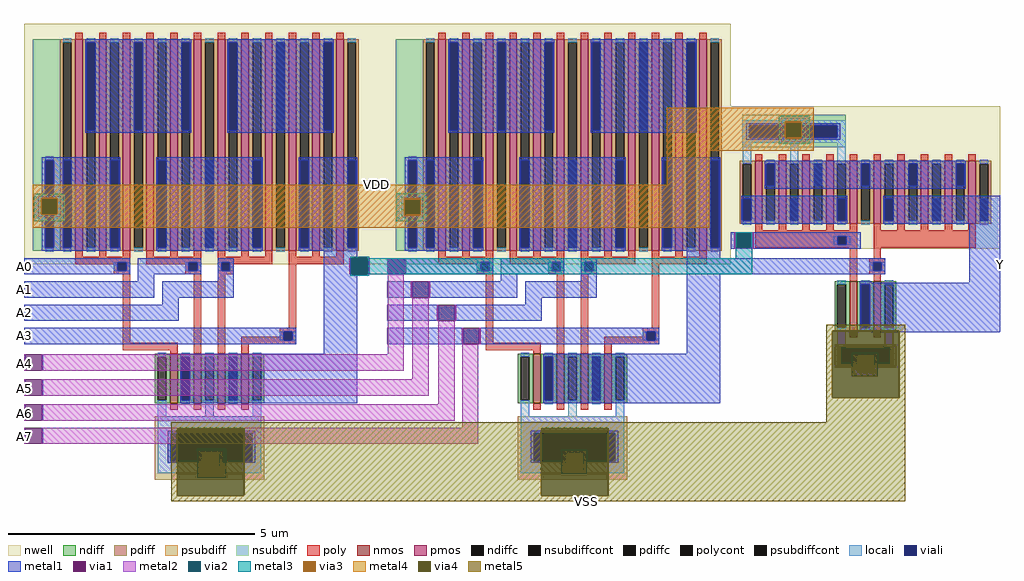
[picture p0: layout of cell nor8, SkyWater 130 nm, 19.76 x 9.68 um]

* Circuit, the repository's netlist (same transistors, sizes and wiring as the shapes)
* NGSPICE file created from nor8.ext - technology: sky130B

.subckt sky130_fd_pr__pfet_01v8_64A2S3 a_n33_n428# a_447_n428# a_n605_n428# a_321_n484#
+ a_n543_n484# a_543_n428# a_159_n428# a_33_n484# a_n255_n484# a_255_n428# w_n641_n484#
+ a_351_n428# a_n417_n428# a_n513_n428# a_n129_n428# a_63_n428# a_n225_n428# a_n321_n428#
X0 a_447_n428# a_321_n484# a_351_n428# w_n641_n484# sky130_fd_pr__pfet_01v8 ad=0.7062 pd=4.61 as=0.7062 ps=4.61 w=4.28 l=0.15
X1 a_n513_n428# a_n543_n484# a_n605_n428# w_n641_n484# sky130_fd_pr__pfet_01v8 ad=0.7062 pd=4.61 as=1.3268 ps=9.18 w=4.28 l=0.15
X2 a_63_n428# a_33_n484# a_n33_n428# w_n641_n484# sky130_fd_pr__pfet_01v8 ad=0.7062 pd=4.61 as=0.7062 ps=4.61 w=4.28 l=0.15
X3 a_n129_n428# a_n255_n484# a_n225_n428# w_n641_n484# sky130_fd_pr__pfet_01v8 ad=0.7062 pd=4.61 as=0.7062 ps=4.61 w=4.28 l=0.15
X4 a_n417_n428# a_n543_n484# a_n513_n428# w_n641_n484# sky130_fd_pr__pfet_01v8 ad=0.7062 pd=4.61 as=0.7062 ps=4.61 w=4.28 l=0.15
X5 a_n33_n428# a_n255_n484# a_n129_n428# w_n641_n484# sky130_fd_pr__pfet_01v8 ad=0.7062 pd=4.61 as=0.7062 ps=4.61 w=4.28 l=0.15
X6 a_351_n428# a_321_n484# a_255_n428# w_n641_n484# sky130_fd_pr__pfet_01v8 ad=0.7062 pd=4.61 as=0.7062 ps=4.61 w=4.28 l=0.15
X7 a_255_n428# a_33_n484# a_159_n428# w_n641_n484# sky130_fd_pr__pfet_01v8 ad=0.7062 pd=4.61 as=0.7062 ps=4.61 w=4.28 l=0.15
X8 a_n321_n428# a_n543_n484# a_n417_n428# w_n641_n484# sky130_fd_pr__pfet_01v8 ad=0.7062 pd=4.61 as=0.7062 ps=4.61 w=4.28 l=0.15
X9 a_543_n428# a_321_n484# a_447_n428# w_n641_n484# sky130_fd_pr__pfet_01v8 ad=1.3268 pd=9.18 as=0.7062 ps=4.61 w=4.28 l=0.15
X10 a_159_n428# a_33_n484# a_63_n428# w_n641_n484# sky130_fd_pr__pfet_01v8 ad=0.7062 pd=4.61 as=0.7062 ps=4.61 w=4.28 l=0.15
X11 a_n225_n428# a_n255_n484# a_n321_n428# w_n641_n484# sky130_fd_pr__pfet_01v8 ad=0.7062 pd=4.61 as=0.7062 ps=4.61 w=4.28 l=0.15
.ends

.subckt sky130_fd_pr__nfet_01v8_S9NJ5Q a_159_n100# a_n159_n126# a_33_n126# a_n129_n100#
+ a_n221_n100# a_63_n100# a_n63_n126# a_n33_n100# a_129_n126# VSUBS
X0 a_n129_n100# a_n159_n126# a_n221_n100# VSUBS sky130_fd_pr__nfet_01v8 ad=0.165 pd=1.33 as=0.31 ps=2.62 w=1 l=0.15
X1 a_63_n100# a_33_n126# a_n33_n100# VSUBS sky130_fd_pr__nfet_01v8 ad=0.165 pd=1.33 as=0.165 ps=1.33 w=1 l=0.15
X2 a_n33_n100# a_n63_n126# a_n129_n100# VSUBS sky130_fd_pr__nfet_01v8 ad=0.165 pd=1.33 as=0.165 ps=1.33 w=1 l=0.15
X3 a_159_n100# a_129_n126# a_63_n100# VSUBS sky130_fd_pr__nfet_01v8 ad=0.31 pd=2.62 as=0.165 ps=1.33 w=1 l=0.15
.ends

.subckt nor4 A B C D VSS Y VDD
Xsky130_fd_pr__pfet_01v8_64A2S3_0 m1_n20_1047# m1_268_1523# VDD D A Y m1_n20_1047#
+ C B m1_268_1523# VDD Y VDD m1_n308_1523# m1_n308_1523# m1_268_1523# m1_n20_1047#
+ m1_n308_1523# sky130_fd_pr__pfet_01v8_64A2S3
Xsky130_fd_pr__nfet_01v8_S9NJ5Q_0 VSS A C Y VSS Y B VSS D VSS sky130_fd_pr__nfet_01v8_S9NJ5Q
.ends

.subckt sky130_fd_pr__pfet_01v8_UFBY79 a_n33_n128# a_n509_n128# a_447_n128# a_159_n128#
+ a_255_n128# a_351_n128# a_n417_n128# a_n447_n225# a_n129_n128# a_63_n128# a_n225_n128#
+ a_33_n225# w_n545_n228# a_n321_n128#
X0 a_63_n128# a_33_n225# a_n33_n128# w_n545_n228# sky130_fd_pr__pfet_01v8 ad=0.2112 pd=1.61 as=0.2112 ps=1.61 w=1.28 l=0.15
X1 a_n129_n128# a_n447_n225# a_n225_n128# w_n545_n228# sky130_fd_pr__pfet_01v8 ad=0.2112 pd=1.61 as=0.2112 ps=1.61 w=1.28 l=0.15
X2 a_n417_n128# a_n447_n225# a_n509_n128# w_n545_n228# sky130_fd_pr__pfet_01v8 ad=0.2112 pd=1.61 as=0.3968 ps=3.18 w=1.28 l=0.15
X3 a_351_n128# a_33_n225# a_255_n128# w_n545_n228# sky130_fd_pr__pfet_01v8 ad=0.2112 pd=1.61 as=0.2112 ps=1.61 w=1.28 l=0.15
X4 a_n33_n128# a_n447_n225# a_n129_n128# w_n545_n228# sky130_fd_pr__pfet_01v8 ad=0.2112 pd=1.61 as=0.2112 ps=1.61 w=1.28 l=0.15
X5 a_255_n128# a_33_n225# a_159_n128# w_n545_n228# sky130_fd_pr__pfet_01v8 ad=0.2112 pd=1.61 as=0.2112 ps=1.61 w=1.28 l=0.15
X6 a_n321_n128# a_n447_n225# a_n417_n128# w_n545_n228# sky130_fd_pr__pfet_01v8 ad=0.2112 pd=1.61 as=0.2112 ps=1.61 w=1.28 l=0.15
X7 a_159_n128# a_33_n225# a_63_n128# w_n545_n228# sky130_fd_pr__pfet_01v8 ad=0.2112 pd=1.61 as=0.2112 ps=1.61 w=1.28 l=0.15
X8 a_n225_n128# a_n447_n225# a_n321_n128# w_n545_n228# sky130_fd_pr__pfet_01v8 ad=0.2112 pd=1.61 as=0.2112 ps=1.61 w=1.28 l=0.15
X9 a_447_n128# a_33_n225# a_351_n128# w_n545_n228# sky130_fd_pr__pfet_01v8 ad=0.3968 pd=3.18 as=0.2112 ps=1.61 w=1.28 l=0.15
.ends

.subckt sky130_fd_pr__nfet_01v8_LZEQWH a_33_n126# a_n125_n100# a_63_n100# a_n63_n126#
+ a_n33_n100# VSUBS
X0 a_63_n100# a_33_n126# a_n33_n100# VSUBS sky130_fd_pr__nfet_01v8 ad=0.31 pd=2.62 as=0.165 ps=1.33 w=1 l=0.15
X1 a_n33_n100# a_n63_n126# a_n125_n100# VSUBS sky130_fd_pr__nfet_01v8 ad=0.165 pd=1.33 as=0.31 ps=2.62 w=1 l=0.15
.ends

.subckt nor2 A B VSS VDD Y
Xsky130_fd_pr__pfet_01v8_UFBY79_0 m1_760_245# VDD Y m1_760_245# Y m1_760_245# m1_760_245#
+ A VDD Y m1_760_245# B VDD VDD sky130_fd_pr__pfet_01v8_UFBY79
Xsky130_fd_pr__nfet_01v8_LZEQWH_0 A VSS VSS B Y VSS sky130_fd_pr__nfet_01v8_LZEQWH
.ends

.subckt nor8 A0 A1 A2 A3 A4 A5 A6 A7 Y
Xnor4_0 A4 A5 A6 A7 VSS nor4_0/Y VDD nor4
Xnor4_1 A0 A1 A2 A3 VSS nor4_1/Y VDD nor4
Xnor2_0 nor4_1/Y nor4_0/Y VSS VDD Y nor2
.ends

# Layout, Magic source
magic
tech sky130B
magscale 1 2
<< nwell >>
rect 1387 1327 1465 1856
rect 1380 1223 1465 1327
rect 1380 1034 1488 1223
rect 1380 1019 1465 1034
rect 1387 906 1465 1019
rect 1387 881 1469 906
<< metal1 >>
rect 65 1090 71 1142
rect 123 1090 129 1142
rect -5 866 -2 875
rect 1312 840 1321 906
rect 1387 840 1393 906
rect 3943 870 3947 885
rect -5 773 -2 782
rect -5 681 -2 690
rect -5 586 -2 595
rect -5 450 1 516
rect 67 450 73 516
rect 3377 503 3429 509
rect 3377 445 3429 451
rect -5 349 1 415
rect 67 349 73 415
rect -5 248 1 314
rect 67 248 73 314
rect -5 154 1 220
rect 67 154 73 220
rect 725 107 777 113
rect 725 49 777 55
rect 2193 107 2258 114
rect 2193 55 2199 107
rect 2251 55 2258 107
rect 2193 49 2258 55
<< via1 >>
rect 3084 1399 3136 1451
rect 71 1090 123 1142
rect 1541 1087 1593 1139
rect 2877 945 2943 1011
rect 1321 840 1387 906
rect 1471 840 1537 906
rect 1567 746 1633 812
rect 1673 652 1739 718
rect 1773 558 1839 624
rect 1 450 67 516
rect 3377 451 3429 503
rect 1 349 67 415
rect 1 248 67 314
rect 1 154 67 220
rect 725 55 777 107
rect 2199 55 2251 107
<< metal2 >>
rect 3062 1453 3160 1475
rect 3062 1397 3082 1453
rect 3138 1397 3160 1453
rect 3062 1378 3160 1397
rect 53 1144 142 1157
rect 53 1088 69 1144
rect 125 1088 142 1144
rect 53 1074 142 1088
rect 1525 1141 1609 1152
rect 1525 1085 1539 1141
rect 1595 1085 1609 1141
rect 1525 1071 1609 1085
rect 2871 945 2877 1011
rect 2943 945 2949 1011
rect 1312 840 1321 906
rect 1387 840 1396 906
rect 1465 840 1471 906
rect 1537 840 1543 906
rect 1467 516 1533 840
rect 1561 746 1567 812
rect 1633 746 1639 812
rect -5 450 1 516
rect 67 450 1533 516
rect 1567 415 1633 746
rect 1667 652 1673 718
rect 1739 652 1745 718
rect -5 349 1 415
rect 67 349 1633 415
rect 1673 314 1739 652
rect 1767 558 1773 624
rect 1839 558 1845 624
rect -5 248 1 314
rect 67 248 1739 314
rect 1769 220 1835 558
rect 3355 505 3452 522
rect 3355 449 3375 505
rect 3431 449 3452 505
rect 3355 428 3452 449
rect -5 154 1 220
rect 67 154 1835 220
rect 702 109 798 123
rect 702 53 723 109
rect 779 53 798 109
rect 702 27 798 53
rect 2176 109 2273 128
rect 2176 53 2197 109
rect 2253 53 2273 109
rect 2176 33 2273 53
<< via2 >>
rect 3082 1451 3138 1453
rect 3082 1399 3084 1451
rect 3084 1399 3136 1451
rect 3136 1399 3138 1451
rect 3082 1397 3138 1399
rect 69 1142 125 1144
rect 69 1090 71 1142
rect 71 1090 123 1142
rect 123 1090 125 1142
rect 69 1088 125 1090
rect 1539 1139 1595 1141
rect 1539 1087 1541 1139
rect 1541 1087 1593 1139
rect 1593 1087 1595 1139
rect 1539 1085 1595 1087
rect 2882 950 2938 1006
rect 1321 840 1387 906
rect 3375 503 3431 505
rect 3375 451 3377 503
rect 3377 451 3429 503
rect 3429 451 3431 503
rect 3375 449 3431 451
rect 723 107 779 109
rect 723 55 725 107
rect 725 55 777 107
rect 777 55 779 107
rect 723 53 779 55
rect 2197 107 2253 109
rect 2197 55 2199 107
rect 2199 55 2251 107
rect 2251 55 2253 107
rect 2197 53 2253 55
<< metal3 >>
rect 3051 1458 3176 1482
rect 3051 1392 3077 1458
rect 3143 1392 3176 1458
rect 3051 1370 3176 1392
rect 35 1149 160 1167
rect 35 1083 64 1149
rect 130 1083 160 1149
rect 35 1055 160 1083
rect 1503 1146 1628 1168
rect 1503 1080 1534 1146
rect 1600 1080 1628 1146
rect 1503 1056 1628 1080
rect 2877 1006 2943 1011
rect 2877 950 2882 1006
rect 2938 950 2943 1006
rect 1316 906 1392 911
rect 2877 906 2943 950
rect 1316 840 1321 906
rect 1387 840 2943 906
rect 1316 835 1392 840
rect 3347 510 3452 522
rect 3347 444 3370 510
rect 3436 444 3452 510
rect 3347 428 3452 444
rect 696 114 814 132
rect 696 48 718 114
rect 784 48 814 114
rect 696 17 814 48
rect 2170 114 2273 128
rect 2170 48 2192 114
rect 2258 48 2273 114
rect 2170 33 2273 48
<< via3 >>
rect 3077 1453 3143 1458
rect 3077 1397 3082 1453
rect 3082 1397 3138 1453
rect 3138 1397 3143 1453
rect 3077 1392 3143 1397
rect 64 1144 130 1149
rect 64 1088 69 1144
rect 69 1088 125 1144
rect 125 1088 130 1144
rect 64 1083 130 1088
rect 1534 1141 1600 1146
rect 1534 1085 1539 1141
rect 1539 1085 1595 1141
rect 1595 1085 1600 1141
rect 1534 1080 1600 1085
rect 3370 505 3436 510
rect 3370 449 3375 505
rect 3375 449 3431 505
rect 3431 449 3436 505
rect 3370 444 3436 449
rect 718 109 784 114
rect 718 53 723 109
rect 723 53 779 109
rect 779 53 784 109
rect 718 48 784 53
rect 2192 109 2258 114
rect 2192 53 2197 109
rect 2197 53 2253 109
rect 2253 53 2258 109
rect 2192 48 2258 53
<< metal4 >>
rect 2597 1458 3192 1515
rect 2597 1392 3077 1458
rect 3143 1392 3192 1458
rect 2597 1342 3192 1392
rect 2597 1203 2770 1342
rect 31 1149 2770 1203
rect 31 1083 64 1149
rect 130 1146 2770 1149
rect 130 1083 1534 1146
rect 31 1080 1534 1083
rect 1600 1080 2770 1146
rect 31 1030 2770 1080
<< via4 >>
rect 3267 510 3539 613
rect 3267 444 3370 510
rect 3370 444 3436 510
rect 3436 444 3539 510
rect 3267 341 3539 444
rect 615 114 887 217
rect 615 48 718 114
rect 718 48 784 114
rect 784 48 887 114
rect 615 -55 887 48
rect 2089 114 2361 217
rect 2089 48 2192 114
rect 2192 48 2258 114
rect 2258 48 2361 114
rect 2089 -55 2361 48
<< metal5 >>
rect 3243 613 3563 637
rect 3243 341 3267 613
rect 3539 341 3563 613
rect 3243 241 3563 341
rect 591 217 3563 241
rect 591 -55 615 217
rect 887 -55 2089 217
rect 2361 -55 3563 217
rect 591 -79 3563 -55
use nor2  nor2_0 ~/Documents/Dersler/VLSI/vlsi_sky130b/design/mag/NOR/NOR2
transform 1 0 2857 0 1 942
box 0 -480 1090 580
use nor4  nor4_0 ~/Documents/Dersler/VLSI/vlsi_sky130b/design/mag/NOR/NOR4
transform 1 0 2067 0 1 -110
box -602 118 790 1966
use nor4  nor4_1
transform 1 0 597 0 1 -110
box -602 118 790 1966
<< labels >>
rlabel metal1 -5 872 -5 872 3 A0
port 1 e
rlabel metal1 -5 780 -5 780 3 A1
port 2 e
rlabel metal1 -5 687 -5 687 3 A2
port 3 e
rlabel metal1 -5 591 -5 591 3 A3
port 4 e
rlabel metal1 -5 479 -5 479 3 A4
port 5 e
rlabel metal1 -5 380 -5 380 3 A5
port 6 e
rlabel metal1 -5 279 -5 279 3 A6
port 7 e
rlabel metal1 -5 182 -5 182 3 A7
port 8 e
rlabel metal5 2271 -79 2271 -79 5 VSS
rlabel metal4 1424 1203 1424 1203 5 VDD
rlabel metal1 3947 879 3947 879 3 Y
port 11 e
<< end >>

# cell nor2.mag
magic
tech sky130B
magscale 1 2
<< nwell >>
rect 0 459 1090 580
rect 1 396 1090 459
rect 42 350 486 396
<< psubdiff >>
rect 420 -401 670 -384
rect 420 -462 446 -401
rect 645 -462 670 -401
rect 420 -480 670 -462
<< nsubdiff >>
rect 46 502 466 544
rect 46 451 74 502
rect 431 451 466 502
rect 46 413 466 451
<< psubdiffcont >>
rect 446 -462 645 -401
<< nsubdiffcont >>
rect 74 451 431 502
<< poly >>
rect 417 19 433 53
rect 467 19 483 53
rect 482 -114 512 6
rect 578 -36 608 6
rect 560 -52 626 -36
rect 560 -86 576 -52
rect 610 -86 626 -52
rect 560 -102 626 -86
rect 578 -113 608 -102
<< polycont >>
rect 433 19 467 53
rect 576 -86 610 -52
<< locali >>
rect 46 502 466 522
rect 46 451 74 502
rect 431 451 466 502
rect 46 432 466 451
rect 48 363 82 432
rect 240 363 274 432
rect 432 363 466 432
rect 417 19 433 53
rect 467 19 483 53
rect 560 -86 576 -52
rect 610 -86 626 -52
rect 432 -390 466 -334
rect 624 -390 658 -334
rect 420 -401 670 -390
rect 420 -462 446 -401
rect 645 -462 670 -401
rect 420 -474 670 -462
<< viali >>
rect 74 451 431 502
rect 433 19 467 53
rect 576 -86 610 -52
rect 446 -462 645 -401
<< metal1 >>
rect 62 502 443 510
rect 62 451 74 502
rect 431 451 443 502
rect 62 444 443 451
rect 184 245 522 359
rect 568 245 714 359
rect 760 245 906 359
rect 88 103 426 217
rect 664 103 1090 217
rect 0 53 526 69
rect 0 19 433 53
rect 467 19 526 53
rect 0 3 526 19
rect 0 -52 626 -36
rect 0 -86 576 -52
rect 610 -86 626 -52
rect 0 -102 626 -86
rect 965 -136 1090 103
rect 568 -334 1090 -136
rect 568 -335 1088 -334
rect 568 -336 1037 -335
rect 434 -401 657 -394
rect 434 -462 446 -401
rect 645 -462 657 -401
rect 434 -468 657 -462
use sky130_fd_pr__nfet_01v8_LZEQWH  sky130_fd_pr__nfet_01v8_LZEQWH_0
transform -1 0 545 0 -1 -230
box -125 -126 125 126
use sky130_fd_pr__pfet_01v8_UFBY79  sky130_fd_pr__pfet_01v8_UFBY79_0
transform 1 0 545 0 1 231
box -545 -228 545 228
<< labels >>
flabel metal1 7 10 84 62 1 FreeSerif 320 0 0 0 A
port 1 e
rlabel metal1 253 510 253 510 5 VDD
port 4 s
flabel metal1 8 -96 85 -44 1 FreeSerif 320 0 0 0 B
port 2 e
flabel metal1 1012 -102 1089 -50 1 FreeSerif 320 0 0 0 Y
port 5 e
rlabel metal1 549 -468 549 -468 5 VSS
port 3 s
<< end >>

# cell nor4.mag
magic
tech sky130B
magscale 1 2
<< nwell >>
rect -602 1489 -492 1966
rect -602 1467 -482 1489
rect -602 1047 -456 1467
rect -602 1023 -461 1047
rect -602 991 -492 1023
<< psubdiff >>
rect -72 307 370 375
rect -72 194 -8 307
rect 322 194 370 307
rect -72 118 370 194
<< nsubdiff >>
rect -566 1413 -456 1903
rect -566 1059 -516 1413
rect -482 1059 -456 1413
rect -566 1047 -456 1059
<< psubdiffcont >>
rect -8 194 322 307
<< nsubdiffcont >>
rect -516 1059 -482 1413
<< poly >>
rect -238 1000 -172 1016
rect -238 966 -222 1000
rect -188 966 -172 1000
rect -238 950 -172 966
rect 50 1000 116 1016
rect 50 966 66 1000
rect 100 966 116 1000
rect 50 950 116 966
rect -202 674 -172 950
rect -202 644 20 674
rect 86 650 116 950
rect 182 1000 248 1016
rect 182 966 198 1000
rect 232 966 248 1000
rect 182 950 248 966
rect 182 650 212 950
rect 470 734 500 991
rect 434 718 500 734
rect 434 697 450 718
rect 278 684 450 697
rect 484 684 500 718
rect 278 667 500 684
rect 278 655 308 667
<< polycont >>
rect -222 966 -188 1000
rect 66 966 100 1000
rect 198 966 232 1000
rect 450 684 484 718
<< locali >>
rect -516 1413 -482 1429
rect -516 1043 -482 1059
rect -238 966 -222 1000
rect -188 966 -172 1000
rect 50 966 66 1000
rect 100 966 116 1000
rect 182 966 198 1000
rect 232 966 248 1000
rect 434 684 450 718
rect 484 684 500 718
rect -60 375 -26 425
rect 132 375 166 425
rect 324 375 358 425
rect -60 307 358 375
rect -60 194 -8 307
rect 322 194 358 307
rect -60 146 358 194
<< viali >>
rect -516 1059 -482 1413
rect -222 966 -188 1000
rect 66 966 100 1000
rect 198 966 232 1000
rect 450 684 484 718
rect -8 194 322 307
<< metal1 >>
rect -308 1523 -162 1903
rect -116 1523 30 1903
rect 268 1523 606 1903
rect -531 1413 -450 1425
rect -531 1059 -516 1413
rect -482 1059 -450 1413
rect -531 1047 -450 1059
rect -404 1047 -258 1425
rect -20 1047 318 1425
rect 556 1047 702 1425
rect 611 1016 748 1047
rect -602 1000 -172 1016
rect -602 966 -222 1000
rect -188 966 -172 1000
rect -602 950 -172 966
rect -141 1000 116 1016
rect -141 966 66 1000
rect 100 966 116 1000
rect -141 950 116 966
rect 182 1000 248 1016
rect 182 966 198 1000
rect 232 966 248 1000
rect -141 922 -75 950
rect 182 922 248 966
rect -602 856 -75 922
rect -42 856 248 922
rect 611 950 790 1016
rect -42 828 25 856
rect -602 762 25 828
rect -602 718 500 734
rect -602 684 450 718
rect 484 684 500 718
rect -602 668 500 684
rect 611 629 748 950
rect 76 429 748 629
rect -20 307 334 317
rect -20 194 -8 307
rect 322 194 334 307
rect -20 187 334 194
use sky130_fd_pr__nfet_01v8_S9NJ5Q  sky130_fd_pr__nfet_01v8_S9NJ5Q_0
transform 1 0 149 0 1 529
box -221 -126 221 126
use sky130_fd_pr__pfet_01v8_64A2S3  sky130_fd_pr__pfet_01v8_64A2S3_0
transform 1 0 149 0 1 1475
box -641 -484 641 491
<< labels >>
rlabel metal1 -602 981 -602 981 3 A
port 6 e
rlabel metal1 -602 889 -602 889 3 B
port 7 e
rlabel metal1 -602 793 -602 793 3 C
port 8 e
rlabel metal1 -602 698 -602 698 3 D
port 9 e
rlabel metal1 158 187 158 187 5 VSS
port 10 s
rlabel metal1 -531 1235 -531 1235 5 VDD
port 11 s
rlabel metal1 790 982 790 982 3 Y
port 12 e
<< end >>

# cell sky130_fd_pr__nfet_01v8_S9NJ5Q: kit device sky130_fd_pr__nfet_01v8, w 1 l 0.15 m 1 nf 4 diffcov 100 polycov 100 guard 0 glc 1 grc 1 gtc 1 gbc 1 tbcov 100 rlcov 100 topc 1 botc 0 poverlap 0 doverlap 1 lmin 0.15 wmin 0.42 compatible {sky130_fd_pr__nfet_01v8 sky130_fd_pr__nfet_01v8_lvt sky130_fd_bs_flash__special_sonosfet_star sky130_fd_pr__nfet_g5v0d10v5 sky130_fd_pr__nfet_05v0_nvt sky130_fd_pr__nfet_03v3_nvt} full_metal 1 viasrc 100 viadrn 100 viagate 0 viagb 0 viagr 0 viagl 0 viagt 0

# cell sky130_fd_pr__pfet_01v8_64A2S3: kit device sky130_fd_pr__pfet_01v8, w 4.28 l 0.15 m 1 nf 12 diffcov 100 polycov 100 guard 0 glc 1 grc 1 gtc 1 gbc 1 tbcov 100 rlcov 100 topc 0 botc 1 poverlap 0 doverlap 1 lmin 0.15 wmin 0.42 compatible {sky130_fd_pr__pfet_01v8 sky130_fd_pr__pfet_01v8_lvt sky130_fd_pr__pfet_01v8_hvt sky130_fd_pr__pfet_g5v0d10v5} full_metal 1 viasrc 100 viadrn 100 viagate 0 viagb 0 viagr 0 viagl 0 viagt 0

# cell sky130_fd_pr__nfet_01v8_LZEQWH: kit device sky130_fd_pr__nfet_01v8, w 1 l 0.15 m 1 nf 2 diffcov 100 polycov 100 guard 0 glc 1 grc 1 gtc 1 gbc 1 tbcov 100 rlcov 100 topc 1 botc 0 poverlap 0 doverlap 1 lmin 0.15 wmin 0.42 compatible {sky130_fd_pr__nfet_01v8 sky130_fd_pr__nfet_01v8_lvt sky130_fd_bs_flash__special_sonosfet_star sky130_fd_pr__nfet_g5v0d10v5 sky130_fd_pr__nfet_05v0_nvt sky130_fd_pr__nfet_03v3_nvt} full_metal 1 viasrc 100 viadrn 100 viagate 0 viagb 0 viagr 0 viagl 0 viagt 0

# cell sky130_fd_pr__pfet_01v8_UFBY79: kit device sky130_fd_pr__pfet_01v8, w 1.284 l 0.15 m 1 nf 10 diffcov 100 polycov 100 guard 0 glc 1 grc 1 gtc 1 gbc 1 tbcov 100 rlcov 100 topc 0 botc 0 poverlap 0 doverlap 1 lmin 0.15 wmin 0.42 compatible {sky130_fd_pr__pfet_01v8 sky130_fd_pr__pfet_01v8_lvt sky130_fd_pr__pfet_01v8_hvt sky130_fd_pr__pfet_g5v0d10v5} full_metal 0 viasrc 100 viadrn 100 viagate 0 viagb 0 viagr 0 viagl 0 viagt 0
